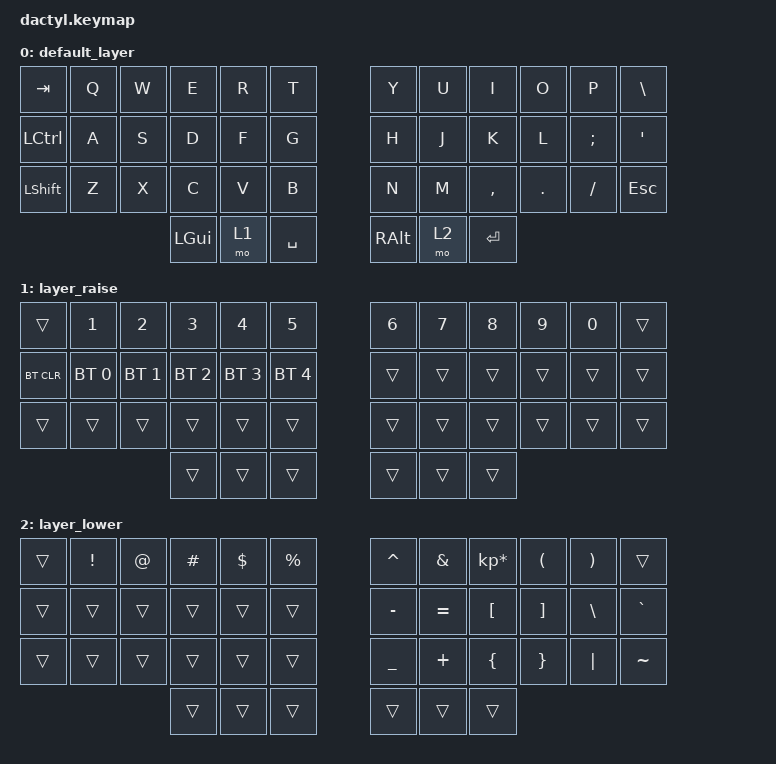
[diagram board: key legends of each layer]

/*
 * Copyright (c) 2020 The ZMK Contributors
 *
 * SPDX-License-Identifier: MIT
 */


/* THIS FILE WAS GENERATED!
 *
 * This file was generated automatically. You may or may not want to
 * edit it directly.
 */

#include <behaviors.dtsi>
#include <dt-bindings/zmk/keys.h>
#include <dt-bindings/zmk/bt.h>
#include <dt-bindings/zmk/outputs.h>

#define BASE 0
#define FPS 1
#define SYMB 2
#define MDIA 3
#define FN 4


/ {
    keymap {
        compatible = "zmk,keymap";


        default_layer {
            bindings = <
   &kp TAB   &kp Q   &kp W     &kp E   &kp R      &kp T               &kp Y   &kp U      &kp I    &kp O     &kp P  &kp BSLH
 &kp LCTRL   &kp A   &kp S     &kp D   &kp F      &kp G               &kp H   &kp J      &kp K    &kp L  &kp SEMI  &kp APOS
 &kp LSHFT   &kp Z   &kp X     &kp C   &kp V      &kp B               &kp N   &kp M  &kp COMMA  &kp DOT  &kp FSLH   &kp ESC
                            &kp LGUI   &mo 1  &kp SPACE            &kp RALT   &mo 2    &kp RET
            >;
        };

        layer_raise {
            bindings = <
     &trans        &kp N1        &kp N2        &kp N3        &kp N4        &kp N5            &kp N6  &kp N7  &kp N8  &kp N9  &kp N0  &trans
 &bt BT_CLR  &bt BT_SEL 0  &bt BT_SEL 1  &bt BT_SEL 2  &bt BT_SEL 3  &bt BT_SEL 4            &trans  &trans  &trans  &trans  &trans  &trans
     &trans        &trans        &trans        &trans        &trans        &trans            &trans  &trans  &trans  &trans  &trans  &trans
                                               &trans        &trans        &trans            &trans  &trans  &trans
            >;
        };

        layer_lower {
            bindings = <
 &trans  &kp EXCL  &kp AT  &kp HASH  &kp DLLR  &kp PRCNT            &kp CARET   &kp AMPS  &kp KP_MULTIPLY  &kp LPAR  &kp RPAR     &trans
 &trans    &trans  &trans    &trans    &trans     &trans            &kp MINUS  &kp EQUAL         &kp LBKT  &kp RBKT  &kp BSLH  &kp GRAVE
 &trans    &trans  &trans    &trans    &trans     &trans            &kp UNDER   &kp PLUS         &kp LBRC  &kp RBRC  &kp PIPE  &kp TILDE
                             &trans    &trans     &trans               &trans     &trans           &trans
            >;
        };

    };
};
